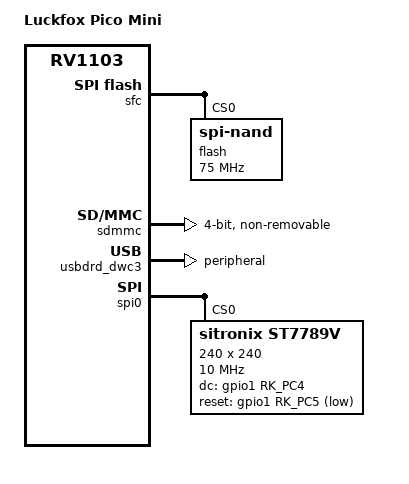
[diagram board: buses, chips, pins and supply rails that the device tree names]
// SPDX-License-Identifier: (GPL-2.0+ OR MIT)
/*
 * Copyright (c) 2023 Luckfox Electronics Co., Ltd.
 */

/dts-v1/;

#include "rv1103.dtsi"
#include "rv1106-evb.dtsi"
#include "rv1103-luckfox-pico-ipc.dtsi"

/ {
	model = "Luckfox Pico Mini";
	compatible = "rockchip,rv1103g-38x38-ipc-v10", "rockchip,rv1103";
};

/**********SFC**********/
&sfc {
	status = "okay";
	flash@0 {
		compatible = "spi-nand";
		reg = <0>;
		spi-max-frequency = <75000000>;
		spi-rx-bus-width = <4>;
		spi-tx-bus-width = <1>;
	};
};

/**********SDMMC**********/
&sdmmc {
	max-frequency = <50000000>;
	no-mmc;
	bus-width = <4>;
	cap-mmc-highspeed;
	cap-sd-highspeed;
	disable-wp;
	
	//sdio
	cap-sdio-irq;
	non-removable;	
	no-1-8-v;
	supports-sdio;

	pinctrl-names = "default";
	pinctrl-0 = <&sdmmc0_clk &sdmmc0_cmd &sdmmc0_det &sdmmc0_bus4>;
	status = "okay";
};

/**********ETH**********/
&gmac {
	status = "disabled";
};

/**********USB**********/
&usbdrd_dwc3 {
	status = "okay";
	dr_mode = "peripheral";
};

/**********SPI**********/
/* SPI0_M0 */
&spi0 {
	status = "okay";
	spidev@0 {
		status = "disabled";
		spi-max-frequency = <50000000>;
	};

	st7789v@0 {
        compatible = "sitronix,st7789v";
        reg = <0>;
        
        /* SPI Configuration */
        spi-max-frequency = <10000000>;  /* 10 MHz - adjust as needed */
        spi-cpol;                         /* Clock polarity: idle high */
        /* Note: spi-cpol only (no spi-cpha) = SPI Mode 2 */
        
        /* Display Properties */
        width = <240>;
        height = <240>;
        regwidth = <8>;                   /* 8-bit register width */
        buswidth = <8>;                   /* 8-bit bus width */
        bpp = <16>;                       /* 16 bits per pixel (RGB565) */
        
        /* GPIO Configuration */
        dc-gpios = <&gpio1 RK_PC4 GPIO_ACTIVE_HIGH>;      //DC
		reset-gpios = <&gpio1 RK_PC5 GPIO_ACTIVE_LOW>;    //RES
        /* Note: ST7789 does NOT use a CS (Chip Select) pin */
        
        /* Display Settings */
        rotate = <0>;                     /* 0, 90, 180, or 270 degrees */
        bgr;                              /* BGR color order (optional) */
        fps = <20>;                       /* Frames per second */
        
        /* Optional: Backlight */
        /* led-gpios = <&gpio 18 GPIO_ACTIVE_HIGH>; */
        
        /* Optional: Debug */
        /* debug = <0x7>; */
    };
};

/**********I2C**********/
/* I2C3_M1 */
&i2c3 {
	status = "disabled";
	clock-frequency = <100000>;
};

/**********UART**********/
/* UART3_M1 */
&uart3 {
	status = "disabled";
};

/* UART4_M1 */
&uart4 {
	status = "disabled";
};

/**********PWM**********/
/* PWM1_M0 */
&pwm1 {
	status = "disabled";
};
